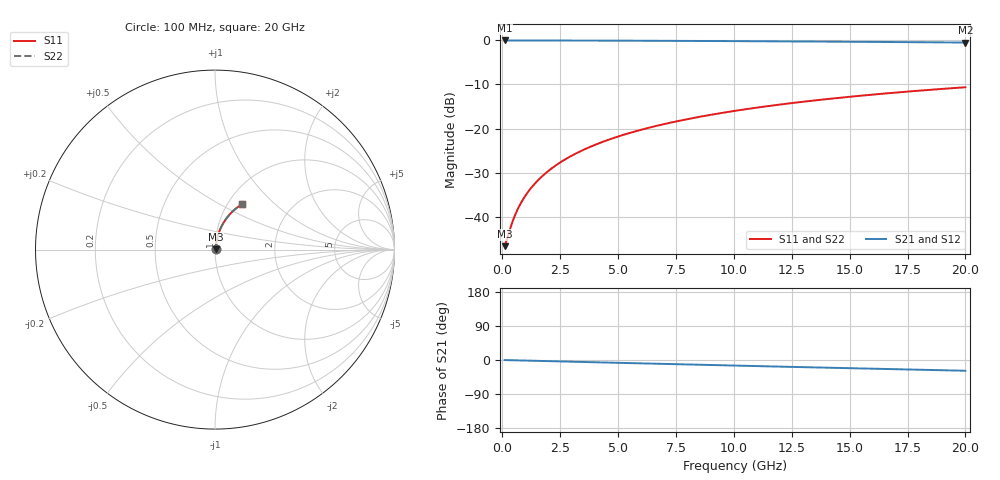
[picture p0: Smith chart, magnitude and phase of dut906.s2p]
! Touchstone file exported from HFSS 2026.1.0
!  File:  C:/ffzhzh/LocalFiles/Ansys_Project_Files/temp_train_TMRDL_906_1783157903_55132.aedt
!  Generated:  05:39:40 PM Jul  4, 2026
!  Design:  TMRDL
!  Project:  temp_train_TMRDL_906_1783157903_55132
! Variables:
!  h_bsmrdl = 2um
!  h_ox = 20um
!  h_rdl = 5um
!  h_sub = 80um
!  h_tmrdl = 3.07um
!  h_tsv = 80um
!  h_via = 3um
!  l_bsmrdl = 300um
!  l_sub = 794.34um
!  l_tmrdl = 394.34um
!  m_sub = 200um
!  pitch = 28.79um
!  r_tsv = 6um
!  s_tmrdl = 10um
!  w_bsmrdl = 18um
!  w_sub = 500um
!  w_tmrdl = 10.67um
!  x_tsv_center1 = 399.675um
!  x_tsv_center2 = 717.675um
!  x_tsv_center3 = 1122.685um
!  x_tsv_center4 = 1440.685um
!  x_tsv_center5 = 1845.695um
!  x_tsv_center6 = 2163.695um
# GHz S MA R 50.000000
! Terminal data exported
! Port[1] = TM_RDL1_1_T1
! Port[2] = TM_RDL1_1_T2
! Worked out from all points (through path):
!   200 points, 100 MHz to 20 GHz, reference 50 ohm
!   highest |S21| = -0.04 dB at 100 MHz (marker M1); lowest = -0.5 dB at 20 GHz (marker M2)
!   group delay of S21, straight-line fit = 3.94 ps
!   lowest |S11| = -46.6 dB at 100 MHz (marker M3), VSWR 1.01, Z = 50.4 + j0.176 ohm
!   |S11| at or under -10 dB: start of sweep to end of sweep
!   |S22| runs from -46.6 to -10.6 dB; largest |S21 - S12| = 3.3e-15
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0.1  0.004692 21.8  0.9956 -0.2  0.9956 -0.2  0.004692 21.8
! Gamma 0 0 0 0
! Port Impedance 50 0 50 0
0.4  0.008269 56.2  0.9954 -0.6  0.9954 -0.6  0.008269 56.2
0.5  0.009754 61.0  0.9954 -0.8  0.9954 -0.8  0.009754 61.0
0.6  0.01128 64.5  0.9953 -0.9  0.9953 -0.9  0.01128 64.5
0.7  0.01282 67.2  0.9952 -1.1  0.9952 -1.1  0.01282 67.2
0.9  0.01594 70.8  0.995 -1.4  0.995 -1.4  0.01594 70.8
1.1  0.01909 73.3  0.9949 -1.7  0.9949 -1.7  0.01909 73.3
1.3  0.02226 74.9  0.9947 -2.0  0.9947 -2.0  0.02226 74.9
1.7  0.02864 77.0  0.9944 -2.6  0.9944 -2.6  0.02864 77.0
2.2  0.03667 78.4  0.994 -3.3  0.994 -3.3  0.03667 78.4
2.8  0.04633 79.0  0.9935 -4.2  0.9935 -4.2  0.04633 79.0
3.5  0.05759 79.1  0.9927 -5.2  0.9927 -5.2  0.05759 79.1
4.2  0.06881 78.8  0.9917 -6.3  0.9917 -6.3  0.06881 78.8
5  0.08156 78.2  0.9905 -7.4  0.9905 -7.4  0.08156 78.2
5.9  0.09578 77.3  0.9888 -8.8  0.9888 -8.8  0.09578 77.3
6.8  0.1099 76.3  0.987 -10.1  0.987 -10.1  0.1099 76.3
8.3  0.133 74.4  0.9834 -12.3  0.9834 -12.3  0.133 74.4
10.1  0.16 72.1  0.9786 -14.8  0.9786 -14.8  0.16 72.1
11.7  0.1834 70.0  0.9738 -17.1  0.9738 -17.1  0.1834 70.0
13.4  0.2076 67.8  0.9682 -19.5  0.9682 -19.5  0.2076 67.8
16.7  0.2524 63.5  0.9564 -24.0  0.9564 -24.0  0.2524 63.5
20  0.2944 59.2  0.9434 -28.4  0.9434 -28.4  0.2944 59.3
